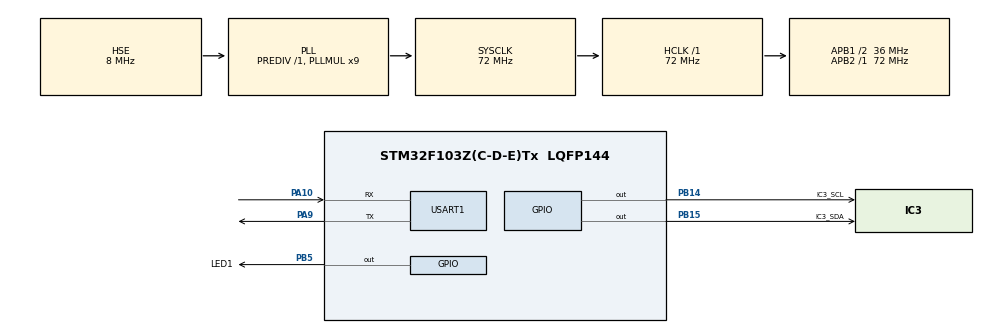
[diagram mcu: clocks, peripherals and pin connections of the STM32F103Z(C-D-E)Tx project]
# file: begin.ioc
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Mcu.Family=STM32F1
Mcu.Name=STM32F103Z(C-D-E)Tx
Mcu.Package=LQFP144
NVIC.PriorityGroup=NVIC_PRIORITYGROUP_4
OSC_IN.Mode=HSE-External-Oscillator
OSC_IN.Signal=RCC_OSC_IN
OSC_OUT.Mode=HSE-External-Oscillator
OSC_OUT.Signal=RCC_OSC_OUT
PA10.Mode=Asynchronous
PA10.Signal=USART1_RX
PA13.Mode=Serial_Wire
PA13.Signal=SYS_JTMS-SWDIO
PA14.Mode=Serial_Wire
PA14.Signal=SYS_JTCK-SWCLK
PA9.Mode=Asynchronous
PA9.Signal=USART1_TX
PB14.GPIO_Label=IC3_SCL
PB14.GPIO_ModeDefaultOutputPP=GPIO_MODE_OUTPUT_OD
PB14.GPIO_PuPd=GPIO_NOPULL
PB14.GPIO_Speed=GPIO_SPEED_FREQ_HIGH
PB14.Signal=GPIO_Output
PB15.GPIO_Label=IC3_SDA
PB15.GPIO_ModeDefaultOutputPP=GPIO_MODE_OUTPUT_OD
PB15.GPIO_PuPd=GPIO_NOPULL
PB15.GPIO_Speed=GPIO_SPEED_FREQ_HIGH
PB15.Signal=GPIO_Output
PB5.GPIO_Label=LED1
PB5.PinState=GPIO_PIN_RESET
PB5.Signal=GPIO_Output
ProjectManager.HeapSize=0x200
ProjectManager.StackSize=0x400
ProjectManager.TargetToolchain=MDK-ARM V5.32
RCC.AHBFreq_Value=72000000
RCC.APB1CLKDivider=RCC_HCLK_DIV2
RCC.APB1Freq_Value=36000000
RCC.APB1TimFreq_Value=72000000
RCC.APB2Freq_Value=72000000
RCC.APB2TimFreq_Value=72000000
RCC.HCLKFreq_Value=72000000
RCC.PLLMUL=RCC_PLL_MUL9
RCC.PLLSourceVirtual=RCC_PLLSOURCE_HSE
RCC.SYSCLKFreq_VALUE=72000000
RCC.SYSCLKSource=RCC_SYSCLKSOURCE_PLLCLK
RCC.USBFreq_Value=72000000
USART1.VirtualMode=VM_ASYNC
board=custom

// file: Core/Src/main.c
/* USER CODE BEGIN Header */
/**
  ******************************************************************************
  * @file           : main.c
  * @brief          : Main program body
  ******************************************************************************
  * @attention
  *
  * Copyright (c)2026 logjoey
  * All rights reserved.
  *
	* Licensed under the MIT License.
	* See the LICENSE file in the project root for details.
  *
  *
  ******************************************************************************
  */
/* USER CODE END Header */
#include "main.h"
#include "usart.h"
#include "gpio.h"

/* USER CODE BEGIN Includes */
#include <stdio.h>
#include <stdarg.h>
#include "string.h"
#include "OLED.h"
/* USER CODE END Includes */

void SystemClock_Config(void);

/* USER CODE BEGIN 0 */
void uart_print(UART_HandleTypeDef *huart, char* format, ...) {
    char buf[256] = {0};  // 增大缓冲区防止溢出
    va_list ap;
    va_start(ap, format);
    vsnprintf(buf, sizeof(buf), format, ap);  // 使用安全的vsnprintf
    va_end(ap);

    // 添加回车换行
    strcat(buf, "\r\n");
    HAL_UART_Transmit(huart, (uint8_t*)buf, strlen(buf), HAL_MAX_DELAY);
}
/* USER CODE END 0 */

int main(void)
{

  /* MCU Configuration--------------------------------------------------------*/

  /* Reset of all peripherals, Initializes the Flash interface and the Systick. */
  HAL_Init();

  /* Configure the system clock */
  SystemClock_Config();

  /* Initialize all configured peripherals */
  MX_GPIO_Init();
  MX_USART1_UART_Init();
  /* USER CODE BEGIN 2 */
	uart_print(&huart1, "System Booted!");
	OLED_Init();

	/*在(0, 0)位置显示字符'A'，字体大小为8*16点阵*/
	OLED_ShowChar(0, 0, 'A', OLED_8X16);

	/*在(16, 0)位置显示字符串"Hello World!"，字体大小为8*16点阵*/
	OLED_ShowString(16, 0, "Hello World!", OLED_8X16);

	/*在(0, 18)位置显示字符'A'，字体大小为6*8点阵*/
	OLED_ShowChar(0, 18, 'A', OLED_6X8);

	/*在(16, 18)位置显示字符串"Hello World!"，字体大小为6*8点阵*/
	OLED_ShowString(16, 18, "Hello World!", OLED_6X8);

	/*在(0, 28)位置显示数字12345，长度为5，字体大小为6*8点阵*/
	OLED_ShowNum(0, 28, 12345, 5, OLED_6X8);

	/*在(40, 28)位置显示有符号数字-66，长度为2，字体大小为6*8点阵*/
	OLED_ShowSignedNum(40, 28, -66, 2, OLED_6X8);

	/*在(70, 28)位置显示十六进制数字0xA5A5，长度为4，字体大小为6*8点阵*/
	OLED_ShowHexNum(70, 28, 0xA5A5, 4, OLED_6X8);

	/*在(0, 38)位置显示二进制数字0xA5，长度为8，字体大小为6*8点阵*/
	OLED_ShowBinNum(0, 38, 0xA5, 8, OLED_6X8);

	/*在(60, 38)位置显示浮点数字123.45，整数部分长度为3，小数部分长度为2，字体大小为6*8点阵*/
	OLED_ShowFloatNum(60, 38, 123.45, 3, 2, OLED_6X8);

	/*在(0, 48)位置显示英文和汉字串"Hello,世界。"，支持中英文混写*/
	OLED_ShowString(0, 48, "Hello,世界。", OLED_8X16);

	/*在(96, 48)位置显示图像，宽16像素，高16像素，图像数据为Diode数组*/
	OLED_ShowImage(96, 48, 16, 16, Diode);

	/*在(96, 18)位置打印格式化字符串，字体大小为6*8点阵，格式化字符串为"[%02d]"*/
	OLED_Printf(96, 18, OLED_6X8, "[%02d]", 6);

	/*调用OLED_Update函数，将OLED显存数组的内容更新到OLED硬件进行显示*/
	OLED_Update();

	/*延时3000ms，观察现象*/
	HAL_Delay(3000);

	/*清空OLED显存数组*/
	OLED_Clear();

	/*在(5, 8)位置画点*/
	OLED_DrawPoint(5, 8);

	/*获取(5, 8)位置的点*/
	if (OLED_GetPoint(5, 8))
	{
		/*如果指定点点亮，则在(10, 4)位置显示字符串"YES"，字体大小为6*8点阵*/
		OLED_ShowString(10, 4, "YES", OLED_6X8);
	}
	else
	{
		/*如果指定点未点亮，则在(10, 4)位置显示字符串"NO "，字体大小为6*8点阵*/
		OLED_ShowString(10, 4, "NO ", OLED_6X8);
	}

	/*在(40, 0)和(127, 15)位置之间画直线*/
	OLED_DrawLine(40, 0, 127, 15);

	/*在(40, 15)和(127, 0)位置之间画直线*/
	OLED_DrawLine(40, 15, 127, 0);

	/*在(0, 20)位置画矩形，宽12像素，高15像素，未填充*/
	OLED_DrawRectangle(0, 20, 12, 15, OLED_UNFILLED);

	/*在(0, 40)位置画矩形，宽12像素，高15像素，填充*/
	OLED_DrawRectangle(0, 40, 12, 15, OLED_FILLED);

	/*在(20, 20)、(40, 25)和(30, 35)位置之间画三角形，未填充*/
	OLED_DrawTriangle(20, 20, 40, 25, 30, 35, OLED_UNFILLED);

	/*在(20, 40)、(40, 45)和(30, 55)位置之间画三角形，填充*/
	OLED_DrawTriangle(20, 40, 40, 45, 30, 55, OLED_FILLED);

	/*在(55, 27)位置画圆，半径8像素，未填充*/
	OLED_DrawCircle(55, 27, 8, OLED_UNFILLED);

	/*在(55, 47)位置画圆，半径8像素，填充*/
	OLED_DrawCircle(55, 47, 8, OLED_FILLED);

	/*在(82, 27)位置画椭圆，横向半轴12像素，纵向半轴8像素，未填充*/
	OLED_DrawEllipse(82, 27, 12, 8, OLED_UNFILLED);

	/*在(82, 47)位置画椭圆，横向半轴12像素，纵向半轴8像素，填充*/
	OLED_DrawEllipse(82, 47, 12, 8, OLED_FILLED);

	/*在(110, 18)位置画圆弧，半径15像素，起始角度25度，终止角度125度，未填充*/
	OLED_DrawArc(110, 18, 15, 25, 125, OLED_UNFILLED);

	/*在(110, 38)位置画圆弧，半径15像素，起始角度25度，终止角度125度，填充*/
	OLED_DrawArc(110, 38, 15, 25, 125, OLED_FILLED);

	/*调用OLED_Update函数，将OLED显存数组的内容更新到OLED硬件进行显示*/
	OLED_Update();

	/*延时3000ms，观察现象*/
	HAL_Delay(3000);

  /* USER CODE END 2 */

  /* Infinite loop */
  /* USER CODE BEGIN WHILE */
  while (1)
  {
		for (uint8_t i = 0; i < 4; i ++)
		{
			/*将OLED显存数组部分数据取反，从(0, i * 16)位置开始，宽128像素，高16像素*/
			OLED_ReverseArea(0, i * 16, 128, 16);

			/*调用OLED_Update函数，将OLED显存数组的内容更新到OLED硬件进行显示*/
			OLED_Update();

			/*延时1000ms，观察现象*/
			HAL_Delay(1000);

			/*把取反的内容翻转回来*/
			OLED_ReverseArea(0, i * 16, 128, 16);
		}

		/*将OLED显存数组全部数据取反*/
		OLED_Reverse();

		/*调用OLED_Update函数，将OLED显存数组的内容更新到OLED硬件进行显示*/
		OLED_Update();
		   HAL_Delay(500);
    /* USER CODE END WHILE */

  }
}

void SystemClock_Config(void)
{
  RCC_OscInitTypeDef RCC_OscInitStruct = {0};
  RCC_ClkInitTypeDef RCC_ClkInitStruct = {0};

  /** Initializes the RCC Oscillators according to the specified parameters
  * in the RCC_OscInitTypeDef structure.
  */
  RCC_OscInitStruct.OscillatorType = RCC_OSCILLATORTYPE_HSE;
  RCC_OscInitStruct.HSEState = RCC_HSE_ON;
  RCC_OscInitStruct.HSEPredivValue = RCC_HSE_PREDIV_DIV1;
  RCC_OscInitStruct.HSIState = RCC_HSI_ON;
  RCC_OscInitStruct.PLL.PLLState = RCC_PLL_ON;
  RCC_OscInitStruct.PLL.PLLSource = RCC_PLLSOURCE_HSE;
  RCC_OscInitStruct.PLL.PLLMUL = RCC_PLL_MUL9;
  if (HAL_RCC_OscConfig(&RCC_OscInitStruct) != HAL_OK)
  {
    Error_Handler();
  }

  /** Initializes the CPU, AHB and APB buses clocks
  */
  RCC_ClkInitStruct.ClockType = RCC_CLOCKTYPE_HCLK|RCC_CLOCKTYPE_SYSCLK
                              |RCC_CLOCKTYPE_PCLK1|RCC_CLOCKTYPE_PCLK2;
  RCC_ClkInitStruct.SYSCLKSource = RCC_SYSCLKSOURCE_PLLCLK;
  RCC_ClkInitStruct.AHBCLKDivider = RCC_SYSCLK_DIV1;
  RCC_ClkInitStruct.APB1CLKDivider = RCC_HCLK_DIV2;
  RCC_ClkInitStruct.APB2CLKDivider = RCC_HCLK_DIV1;

  if (HAL_RCC_ClockConfig(&RCC_ClkInitStruct, FLASH_LATENCY_2) != HAL_OK)
  {
    Error_Handler();
  }
}

void Error_Handler(void)
{
  __disable_irq();
  while (1)
  {
  }
}
